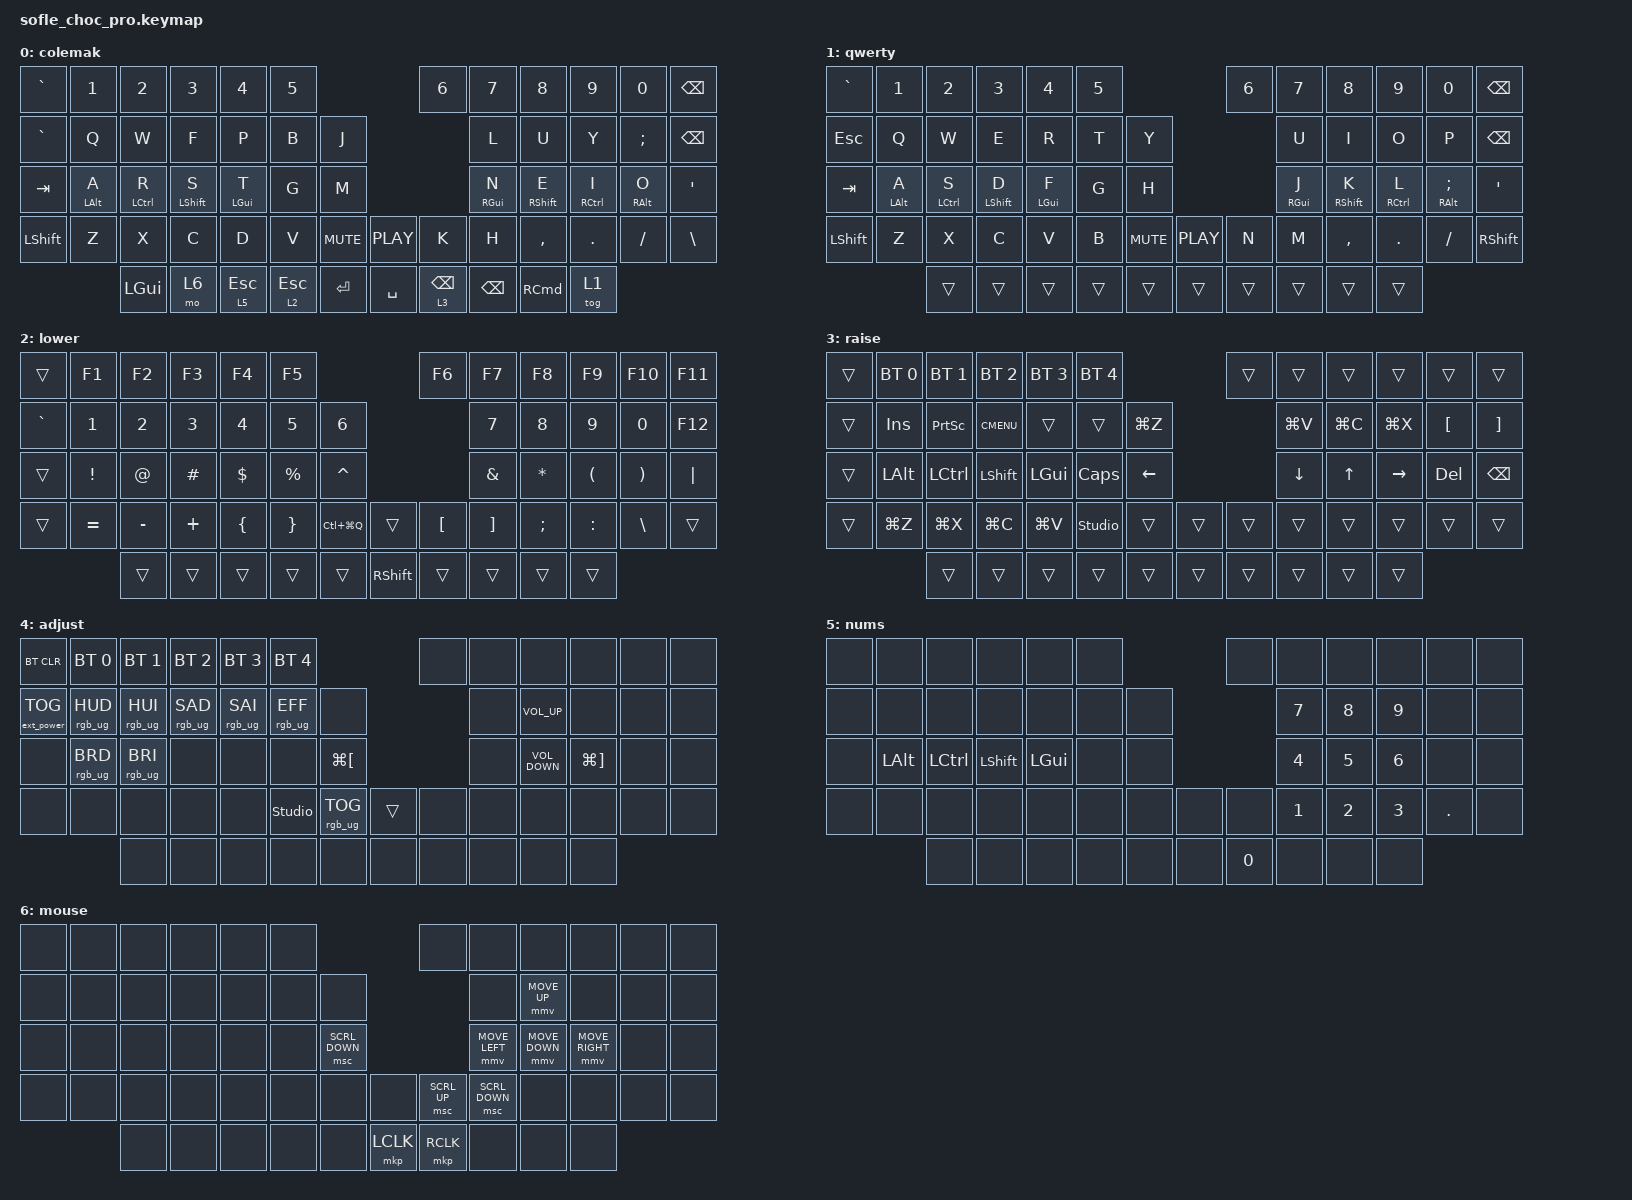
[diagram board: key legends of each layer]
/*
* Copyright (c) 2020 The ZMK Contributors
*
* SPDX-License-Identifier: MIT
*/

#include <behaviors.dtsi>
#include <dt-bindings/zmk/bt.h>
#include <dt-bindings/zmk/ext_power.h>
#include <dt-bindings/zmk/keys.h>
#include <dt-bindings/zmk/pointing.h>
#include <dt-bindings/zmk/rgb.h>

#define BASE 0
#define LOWER 1
#define RAISE 2
#define ADJUST 3

#include "sofle.h"

#define KEYS_L LN0 LN1 LN2 LN3 LN4 LN5 LT0 LT1 LT2 LT3 LT4 LT5 LM0 LM1 LM2 LM3 LM4 LM5 LB0 LB1 LB2 LB3 LB4 LB5// Left-hand keys.
#define KEYS_R RN0 RN1 RN2 RN3 RN4 RN5 RT0 RT1 RT2 RT3 RT4 RT5 RM0 RM1 RM2 RM3 RM4 RM5 RB0 RB1 RB2 RB3 RB4 RB5  // Right-hand keys.
#define THUMBS LH4 LH4 LH2 LH1 LH0 RH0 RH1 RH2 RH3 RH4                                      // Thumb keys.

&mmv { acceleration-exponent = <2>; };

/ {
    behaviors {
        hml: home_row_mod_left {
            compatible = "zmk,behavior-hold-tap";
            #binding-cells = <2>;
            flavor = "balanced";
            tapping-term-ms = <380>;
            quick-tap-ms = <175>;
            require-prior-idle-ms = <150>;
            bindings = <&kp>, <&kp>;

            hold-trigger-key-positions = <KEYS_R THUMBS 6 7 8 9 10 11 18 19 20 21 22 23 30 31 32 33 34 35 43 44 45 46 47 48 49 55 56 57 58 59>;
            hold-trigger-on-release;
        };

        hmr: home_row_mod_right {
            compatible = "zmk,behavior-hold-tap";
            #binding-cells = <2>;
            flavor = "balanced";
            tapping-term-ms = <380>;
            quick-tap-ms = <175>;
            require-prior-idle-ms = <150>;
            bindings = <&kp>, <&kp>;

            hold-trigger-key-positions = <KEYS_L THUMBS 0 1 2 3 4 5 12 13 14 15 16 17 24 25 26 27 28 29 36 37 38 39 40 41 42 50 51 52 53 54>;
            hold-trigger-on-release;
        };
    };

    // Activate ADJUST layer by pressing raise and lower

    conditional_layers {
        compatible = "zmk,conditional-layers";

        adjust_layer {
            if-layers = <2 3>;
            then-layer = <4>;
        };
    };

    keymap {
        compatible = "zmk,keymap";

        colemak {
            display-name = "colemak";

            // ------------------------------------------------------------------------------------------------------------
            // |   `   |  1  |  2  |  3   |  4   |  5   |                   |  6   |  7    |  8    |  9   |   0   |   `   |
            // |  ESC  |  Q  |  W  |  E   |  R   |  T   |                   |  Y   |  U    |  I    |  O   |   P   | BKSPC |
            // |  TAB  |  A  |  S  |  D   |  F   |  G   |                   |  H   |  J    |  K    |  L   |   ;   |   '   |
            // | SHIFT |  Z  |  X  |  C   |  V   |  B   |  MUTE  |  | PLAY  |  N   |  M    |  ,    |  .   |   /   | SHIFT |
            //               | GUI | ALT  | CTRL | LOWER|  ENTER |  | SPACE | RAISE| CTRL  | ALT   | GUI  |

            bindings = <
&kp GRAVE  &kp N1           &kp N2        &kp N3             &kp N4           &kp N5                                &kp N6           &kp N7            &kp N8              &kp N9        &kp N0            &kp BACKSPACE
&kp GRAVE  &kp Q            &kp W         &kp F              &kp P            &kp B         &kp J                                    &kp L             &kp U               &kp Y         &kp SEMICOLON     &kp BSPC
&kp TAB    &hml LEFT_ALT A  &hml LCTRL R  &hml LEFT_SHIFT S  &hml LEFT_GUI T  &kp G         &kp M                                    &hmr RIGHT_GUI N  &hmr RIGHT_SHIFT E  &hmr RCTRL I  &hmr RIGHT_ALT O  &kp SQT
&kp LSHFT  &kp Z            &kp X         &kp C              &kp D            &kp V         &kp C_MUTE  &kp C_PLAY  &kp K            &kp H             &kp COMMA           &kp DOT       &kp FSLH          &kp BACKSLASH
                            &kp LGUI      &mo 6              &lt 5 ESCAPE     &lt 2 ESCAPE  &kp RET     &kp SPACE   &lt 3 BACKSPACE  &kp BACKSPACE     &kp RCMD            &tog 1
            >;
        };

        qwerty {
            display-name = "qwerty";
            bindings = <
&kp GRAVE  &kp N1           &kp N2        &kp N3             &kp N4           &kp N5                          &kp N6  &kp N7            &kp N8              &kp N9        &kp N0               &kp BACKSPACE
&kp ESC    &kp Q            &kp W         &kp E              &kp R            &kp T   &kp Y                           &kp U             &kp I               &kp O         &kp P                &kp BSPC
&kp TAB    &hml LEFT_ALT A  &hml LCTRL S  &hml LEFT_SHIFT D  &hml LEFT_GUI F  &kp G   &kp H                           &hmr RIGHT_GUI J  &hmr RIGHT_SHIFT K  &hmr RCTRL L  &hmr RIGHT_ALT SEMI  &kp SQT
&kp LSHFT  &kp Z            &kp X         &kp C              &kp V            &kp B   &kp C_MUTE  &kp C_PLAY  &kp N   &kp M             &kp COMMA           &kp DOT       &kp FSLH             &kp RSHFT
                            &trans        &trans             &trans           &trans  &trans      &trans      &trans  &trans            &trans              &trans
            >;
        };

        lower_layer {
            display-name = "lower";

            // ------------------------------------------------------------------------------------------------------------
            // |       |  F1 |  F2 |  F3  |  F4  |  F5  |                   |  F6  |  F7   |  F8   |  F9  |  F10  |  F11  |
            // |   `   |  1  |  2  |  3   |  4   |  5   |                   |  6   |  7    |  8    |  9   |   0   |  F12  |
            // |       |  !  |  @  |  #   |  $   |  %   |                   |  ^   |  &    |  *    |  (   |   )   |   |   |
            // |       |  =  |  -  |  +   |  {   |  }   |        |  |       |  [   |  ]    |  ;    |  :   |   \   |       |
            //               |     |      |      |      |        |  |       |      |       |       |      |

            bindings = <
&trans     &kp F1     &kp F2     &kp F3    &kp F4    &kp F5                                     &kp F6    &kp F7    &kp F8     &kp F9     &kp F10   &kp F11
&kp GRAVE  &kp N1     &kp N2     &kp N3    &kp N4    &kp N5     &kp N6                                    &kp N7    &kp N8     &kp N9     &kp N0    &kp F12
&trans     &kp EXCL   &kp AT     &kp HASH  &kp DLLR  &kp PRCNT  &kp CARET                                 &kp AMPS  &kp ASTRK  &kp LPAR   &kp RPAR  &kp PIPE
&trans     &kp EQUAL  &kp MINUS  &kp PLUS  &kp LBRC  &kp RBRC   &kp LC(LG(Q))  &trans           &kp LBKT  &kp RBKT  &kp SEMI   &kp COLON  &kp BSLH  &trans
                      &trans     &trans    &trans    &trans     &trans         &kp RIGHT_SHIFT  &trans    &trans    &trans     &trans
            >;
        };

        raise_layer {
            display-name = "raise";

            // ------------------------------------------------------------------------------------------------------------
            // | BTCLR | BT1  | BT2  |  BT3  |  BT4  |  BT5 |                |      |      |       |      |       |       |
            // |       | INS  | PSCR | GUI   |       |      |                | PGUP |      |   ^   |      |       |       |
            // |       | ALT  | CTRL | SHIFT |       | CAPS |                | PGDN |   <- |   v   |  ->  |  DEL  | BKSPC |
            // |       | UNDO | CUT  | COPY  | PASTE |      |      |  |      |      |      |       |      |       |       |
            //                |      |       |       |      |      |  |      |      |      |       |      |

            bindings = <
&trans  &bt BT_SEL 0  &bt BT_SEL 1  &bt BT_SEL 2  &bt BT_SEL 3  &bt BT_SEL 4                            &trans  &trans          &trans        &trans     &trans            &trans
&trans  &kp INS       &kp PSCRN     &kp K_CMENU   &trans        &trans          &kp LG(Z)                       &kp LG(V)       &kp LG(C)     &kp LG(X)  &kp LEFT_BRACKET  &kp RIGHT_BRACKET
&trans  &kp LALT      &kp LCTRL     &kp LSHFT     &kp LEFT_GUI  &kp CLCK        &kp LEFT_ARROW                  &kp DOWN_ARROW  &kp UP_ARROW  &kp RIGHT  &kp DEL           &kp BSPC
&trans  &kp LG(Z)     &kp LG(X)     &kp LG(C)     &kp LG(V)     &studio_unlock  &trans          &trans  &trans  &trans          &trans        &trans     &trans            &trans
                      &trans        &trans        &trans        &trans          &trans          &trans  &trans  &trans          &trans        &trans
            >;
        };

        adjust_layer {
            // ----------------------------------------------------------------------------------------------------------------------------
            // | BTCLR  |  BT1    |  BT2    |   BT3   |   BT4   |   BT5   |                  |      |      |       |      |       |       |
            // | EXTPWR | RGB_HUD | RGB_HUI | RGB_SAD | RGB_SAI | RGB_EFF |                  |      |      |       |      |       |       |
            // |        | RGB_BRD | RGB_BRI |         |         |         |                  |      |      |       |      |       |       |
            // |        |         |         |         |         |         | RGB_TOG | |      |      |      |       |      |       |       |
            //                    |         |         |         |         |         | |      |      |      |       |      |

            display-name = "adjust";
            bindings = <
&bt BT_CLR         &bt BT_SEL 0     &bt BT_SEL 1     &bt BT_SEL 2     &bt BT_SEL 3     &bt BT_SEL 4                                   &none  &none  &none              &none                  &none  &none
&ext_power EP_TOG  &rgb_ug RGB_HUD  &rgb_ug RGB_HUI  &rgb_ug RGB_SAD  &rgb_ug RGB_SAI  &rgb_ug RGB_EFF  &none                                &none  &kp C_VOLUME_UP    &none                  &none  &none
&none              &rgb_ug RGB_BRD  &rgb_ug RGB_BRI  &none            &none            &none            &kp LG(LEFT_BRACKET)                 &none  &kp C_VOLUME_DOWN  &kp LG(RIGHT_BRACKET)  &none  &none
&none              &none            &none            &none            &none            &studio_unlock   &rgb_ug RGB_TOG       &trans  &none  &none  &none              &none                  &none  &none
                                    &none            &none            &none            &none            &none                 &none   &none  &none  &none              &none
            >;
        };

        nums {
            bindings = <
&none  &none         &none      &none           &none         &none                &none         &none         &none         &none         &none    &none
&none  &none         &none      &none           &none         &none  &none                       &kp NUMBER_7  &kp NUMBER_8  &kp NUMBER_9  &none    &none
&none  &kp LEFT_ALT  &kp LCTRL  &kp LEFT_SHIFT  &kp LEFT_GUI  &none  &none                       &kp NUMBER_4  &kp NUMBER_5  &kp NUMBER_6  &none    &none
&none  &none         &none      &none           &none         &none  &none  &none  &none         &kp NUMBER_1  &kp NUMBER_2  &kp NUMBER_3  &kp DOT  &none
                     &none      &none           &none         &none  &none  &none  &kp NUMBER_0  &none         &none         &none
            >;

            label = "nums";
        };

        mouse {
            bindings = <
&none  &none  &none  &none  &none  &none                             &none         &none           &none           &none            &none  &none
&none  &none  &none  &none  &none  &none  &none                                    &none           &mmv MOVE_UP    &none            &none  &none
&none  &none  &none  &none  &none  &none  &msc SCRL_DOWN                           &mmv MOVE_LEFT  &mmv MOVE_DOWN  &mmv MOVE_RIGHT  &none  &none
&none  &none  &none  &none  &none  &none  &none           &none      &msc SCRL_UP  &msc SCRL_DOWN  &none           &none            &none  &none
              &none  &none  &none  &none  &none           &mkp LCLK  &mkp RCLK     &none           &none           &none
            >;

            label = "mouse";
        };
    };
};
